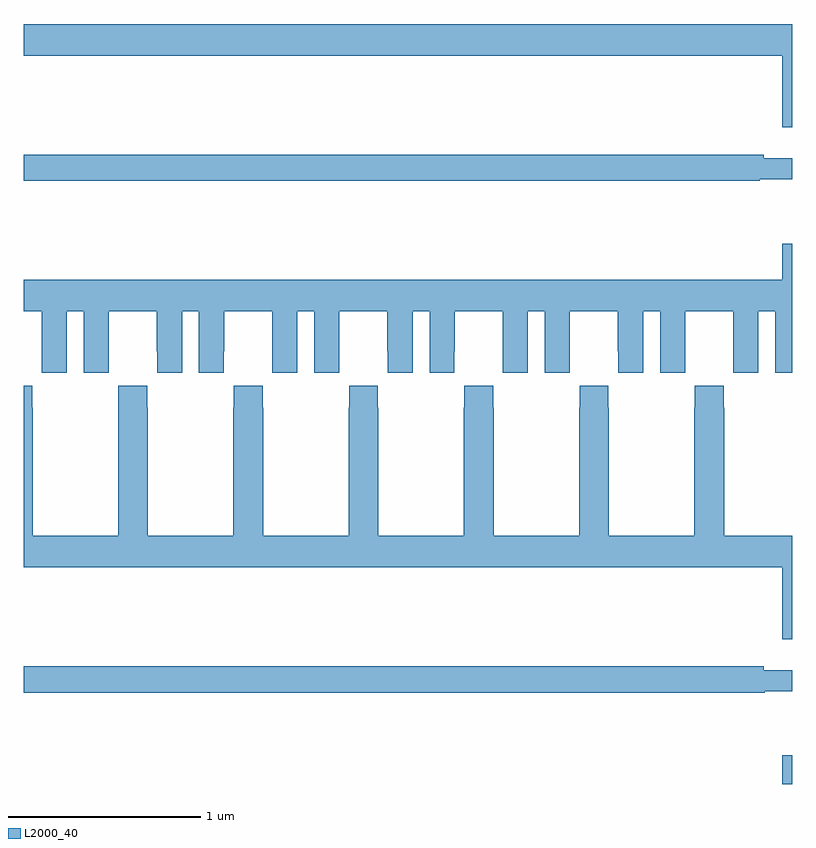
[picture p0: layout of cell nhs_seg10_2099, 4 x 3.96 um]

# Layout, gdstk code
import gdstk
lib = gdstk.Library(unit=1e-6, precision=1e-09)
def R(c, l, rs):  # rectangles x0, y0, x1, y1
    for r in rs: c.add(gdstk.rectangle(r[:2], r[2:], *l))
def P(c, l, *ps):  # polygons
    for p in ps: c.add(gdstk.Polygon(p, *l))
L2000_40 = (2000, 40)

nhs_seg10_2099 = lib.new_cell('nhs_seg10_2099')
R(nhs_seg10_2099, L2000_40, [(224.948,1320.5,225,1320.649)])
P(nhs_seg10_2099, L2000_40, [(225,1324.456),(221,1324.456),(221,1324.292),(224.948,1324.292),(224.948,1323.918),(225,1323.918)],
  [(224.83,1323.648),(225,1323.648),(225,1323.757),(224.852,1323.757),(224.852,1323.776),(221,1323.776),(221,1323.64),(224.83,1323.64)],
  [(221,1322.96),(221.093,1322.96),(221.093,1322.752),(221.094,1322.752),(221.094,1322.64),(221.224,1322.64),(221.224,1322.96),(221.312,1322.96),(221.312,1322.64),(221.442,1322.64),(221.442,1322.752),(221.443,1322.752),(221.443,1322.96),(221.693,1322.96),(221.693,1322.752),(221.694,1322.752),(221.694,1322.64),(221.824,1322.64),(221.824,1322.96),(221.912,1322.96),(221.912,1322.64),(222.042,1322.64),(222.042,1322.752),(222.043,1322.752),(222.043,1322.96),(222.293,1322.96),(222.293,1322.752),(222.294,1322.752),(222.294,1322.64),(222.424,1322.64),(222.424,1322.96),(222.512,1322.96),(222.512,1322.64),(222.642,1322.64),(222.642,1322.752),(222.643,1322.752),(222.643,1322.96),(222.893,1322.96),(222.893,1322.752),(222.894,1322.752),(222.894,1322.64),(223.024,1322.64),(223.024,1322.96),(223.112,1322.96),(223.112,1322.64),(223.242,1322.64),(223.242,1322.752),(223.243,1322.752),(223.243,1322.96),(223.493,1322.96),(223.493,1322.752),(223.494,1322.752),(223.494,1322.64),(223.624,1322.64),(223.624,1322.96),(223.712,1322.96),(223.712,1322.64),(223.842,1322.64),(223.842,1322.752),(223.843,1322.752),(223.843,1322.96),(224.093,1322.96),(224.093,1322.752),(224.094,1322.752),(224.094,1322.64),(224.224,1322.64),(224.224,1322.96),(224.312,1322.96),(224.312,1322.64),(224.442,1322.64),(224.442,1322.752),(224.443,1322.752),(224.443,1322.96),(224.693,1322.96),(224.693,1322.752),(224.694,1322.752),(224.694,1322.64),(224.824,1322.64),(224.824,1322.96),(224.912,1322.96),(224.912,1322.64),(225,1322.64),(225,1323.313),(224.948,1323.313),(224.948,1323.124),(221,1323.124)],
  [(224.948,1321.254),(225,1321.254),(225,1321.792),(224.646,1321.792),(224.646,1322.459),(224.643,1322.459),(224.643,1322.572),(224.493,1322.572),(224.493,1322.459),(224.491,1322.459),(224.491,1321.792),(224.046,1321.792),(224.046,1322.459),(224.043,1322.459),(224.043,1322.572),(223.893,1322.572),(223.893,1322.459),(223.891,1322.459),(223.891,1321.792),(223.446,1321.792),(223.446,1322.459),(223.443,1322.459),(223.443,1322.572),(223.293,1322.572),(223.293,1322.459),(223.291,1322.459),(223.291,1321.792),(222.846,1321.792),(222.846,1322.459),(222.843,1322.459),(222.843,1322.572),(222.693,1322.572),(222.693,1322.459),(222.691,1322.459),(222.691,1321.792),(222.246,1321.792),(222.246,1322.459),(222.243,1322.459),(222.243,1322.572),(222.093,1322.572),(222.093,1322.459),(222.091,1322.459),(222.091,1321.792),(221.646,1321.792),(221.646,1322.459),(221.643,1322.459),(221.643,1322.572),(221.493,1322.572),(221.493,1322.459),(221.491,1322.459),(221.491,1321.792),(221.046,1321.792),(221.046,1322.459),(221.043,1322.459),(221.043,1322.572),(221,1322.572),(221,1321.628),(224.948,1321.628)],
  [(224.858,1320.984),(225,1320.984),(225,1321.093),(224.852,1321.093),(224.852,1321.112),(221,1321.112),(221,1320.976),(224.858,1320.976)])

lib.write_gds('nhs_seg10_2099.gds')
